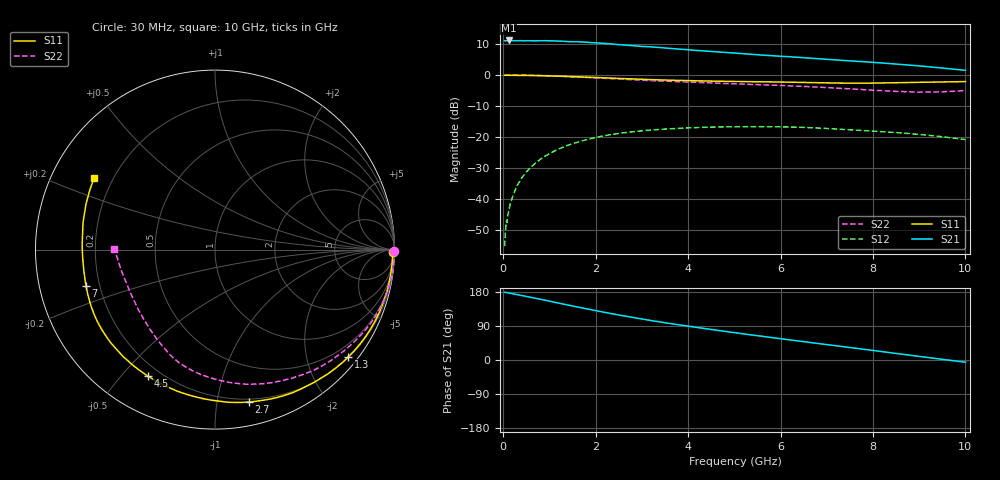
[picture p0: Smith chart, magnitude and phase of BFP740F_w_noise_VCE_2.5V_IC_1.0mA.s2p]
! Infineon Technologies  Discrete & RF Semiconductors
! BFP740F
! VCE =  2.5 V,  IC =  1.0 mA
! Common Emitter S-Parameters:  Oct 2012
# GHz  S  MA  R  50
!  f  S11  S21  S12  S22
! GHz  MAG  ANG  MAG  ANG  MAG  ANG  MAG  ANG
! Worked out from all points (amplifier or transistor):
!   99 points, 30 MHz to 10 GHz, reference 50 ohm
!   highest |S21| = 11.2 dB at 120 MHz (marker M1)
!   |S21| within 3 dB of that: start of sweep to 3.998 GHz
!   unconditionally stable (mu >= 1): nowhere
!   at 350 MHz: K = 0.00, MSG = 22.8 dB, |S12| = -34.6 dB
!   at 3.5 GHz: K = 0.20, MSG = 13.1 dB, |S12| = -17.5 dB
!   at 10 GHz: K = 0.94, MSG = 11.2 dB, |S12| = -20.9 dB
!   lowest NFmin = 0.44 dB at 450 MHz
!   S11 on the Smith chart (normalised r, x): 30 MHz: open; 1.3 GHz: 0.21, -2.82; 2.7 GHz: 0.18, -1.23; 4.5 GHz: 0.15, -0.59; 7 GHz: 0.15, -0.13; 10 GHz: 0.13, +0.27
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0.03  0.9896 -0.9  3.596 178.7  0.0017 85.4  0.9995 -0.6
0.05  0.9906 -1.5  3.585 178.5  0.0031 92.6  0.9995 -1.0
0.07  0.9892 -2.1  3.589 178.0  0.0043 92.6  0.9993 -1.5
0.08  0.99 -2.4  3.587 177.9  0.0041 89.2  0.999 -1.7
0.12  0.9894 -3.6  3.627 176.9  0.0065 85.7  0.9991 -2.5
0.3  0.9874 -9.0  3.588 172.5  0.0162 83.6  0.9971 -6.2
0.5  0.9846 -14.9  3.59 167.8  0.027 79.8  0.9927 -10.4
0.9  0.9731 -27.0  3.596 157.9  0.0484 70.7  0.9778 -18.8
1.3  0.9533 -38.9  3.523 147.6  0.0683 61.4  0.9526 -27.3
1.7  0.9282 -50.5  3.424 137.5  0.0857 52.5  0.9221 -35.7
2.2  0.8997 -64.6  3.247 125.6  0.1045 41.7  0.884 -46.4
2.7  0.87 -77.4  3.022 114.5  0.1186 31.9  0.8465 -55.9
3.4  0.8338 -94.2  2.785 100.3  0.1319 19.6  0.8016 -68.1
4  0.8117 -107.5  2.567 89.3  0.1396 10.2  0.7707 -76.7
4.5  0.798 -118.0  2.405 80.7  0.1435 3.0  0.7455 -83.5
5.1  0.7859 -130.4  2.236 70.6  0.1459 -5.5  0.7168 -91.4
6.2  0.7661 -150.4  1.98 53.0  0.144 -20.3  0.6681 -105.6
6.7  0.7532 -159.0  1.86 45.3  0.1401 -27.0  0.6432 -111.8
7  0.7462 -164.3  1.798 40.7  0.1364 -30.8  0.6262 -115.4
7.8  0.7389 -178.5  1.645 28.3  0.1261 -39.4  0.5801 -127.0
8.5  0.7506 168.4  1.505 17.3  0.1174 -46.9  0.5436 -141.5
10  0.7831 149.2  1.191 -5.8  0.0901 -62.7  0.5603 179.7
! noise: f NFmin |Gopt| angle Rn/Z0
0.45  0.44  0.65  10  0.5
0.9  0.53  0.66  18  0.46
1.5  0.68  0.66  29  0.43
1.9  0.79  0.62  40  0.44
2.4  0.93  0.59  48  0.44
3.5  1.24  0.54  72  0.41
5.5  1.77  0.47  117  0.31
10  2.79  0.61  -140  0.14
